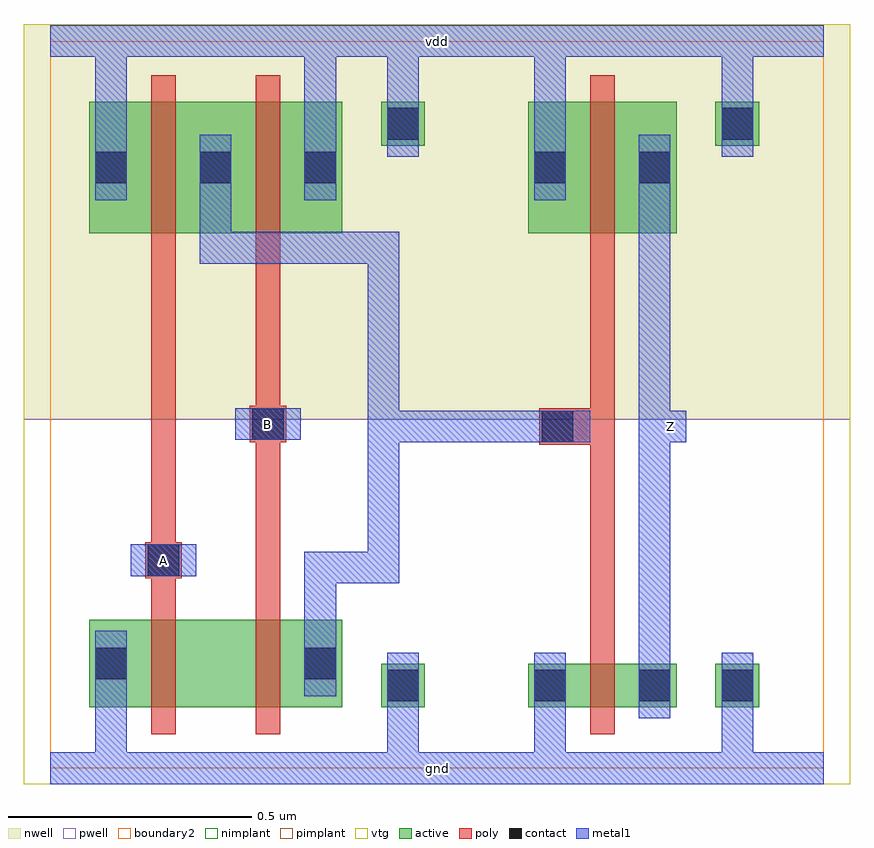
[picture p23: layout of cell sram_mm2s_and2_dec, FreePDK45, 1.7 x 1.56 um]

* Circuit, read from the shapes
.subckt sram_mm2s_and2_dec A B Z gnd vdd
M1 sram_mm2s_pnand2_0/sram_mm2s_nmos_m1_w0_180_sm1_dactive_2/D A gnd gnd nfet w=0.18u l=0.05u
M2 sram_mm2s_pinv_1/A B sram_mm2s_pnand2_0/sram_mm2s_nmos_m1_w0_180_sm1_dactive_2/D gnd nfet w=0.18u l=0.05u
M3 Z sram_mm2s_pinv_1/A gnd gnd nfet w=0.09u l=0.05u
M4 sram_mm2s_pinv_1/A A vdd vdd pfet w=0.27u l=0.05u
M5 vdd B sram_mm2s_pinv_1/A vdd pfet w=0.27u l=0.05u
M6 Z sram_mm2s_pinv_1/A vdd vdd pfet w=0.27u l=0.05u
.ends

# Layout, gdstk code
import gdstk
lib = gdstk.Library(unit=1e-6, precision=5e-10)
def R(c, l, rs):  # rectangles x0, y0, x1, y1
    for r in rs: c.add(gdstk.rectangle(r[:2], r[2:], *l))
active = (1, 0)
pwell = (2, 0)
nwell = (3, 0)
nimplant = (4, 0)
pimplant = (5, 0)
vtg = (6, 0)
poly = (9, 0)
contact = (10, 0)
metal1 = (11, 0)
boundary2 = (239, 0)

sram_mm2s_contact_11 = lib.new_cell('sram_mm2s_contact_11')
R(sram_mm2s_contact_11, active, [(0,0.0225,0.09,0.1125)])
R(sram_mm2s_contact_11, nwell, [(-0.055,-0.0325,0.145,0.1675)])
R(sram_mm2s_contact_11, pimplant, [(0,0.0225,0.09,0.1125)])
R(sram_mm2s_contact_11, contact, [(0.0125,0.035,0.0775,0.1)])
R(sram_mm2s_contact_11, metal1, [(0.0125,0,0.0775,0.135)])
R(sram_mm2s_contact_11, boundary2, [(-0.055,-0.0325,0.145,0.1675)])

sram_mm2s_pmos_m1_w0_270 = lib.new_cell('sram_mm2s_pmos_m1_w0_270_sm1_dm1')
R(sram_mm2s_pmos_m1_w0_270, active, [(0,0,0.305,0.27)])
R(sram_mm2s_pmos_m1_w0_270, nwell, [(-0.08,-0.08,0.385,0.35)])
R(sram_mm2s_pmos_m1_w0_270, pimplant, [(0,0,0.305,0.27)])
R(sram_mm2s_pmos_m1_w0_270, vtg, [(-0.08,-0.08,0.385,0.35)])
R(sram_mm2s_pmos_m1_w0_270, poly, [(0.1275,-0.055,0.1775,0.325), (0.1275,-0.055,0.1775,0.325)])
R(sram_mm2s_pmos_m1_w0_270, metal1, [(0.0125,0.0675,0.0775,0.2025), (0.2275,0.0675,0.2925,0.2025)])
R(sram_mm2s_pmos_m1_w0_270, boundary2, [(-0.08,-0.08,0.385,0.35)])
sram_mm2s_pmos_m1_w0_270.add(gdstk.Reference(sram_mm2s_contact_11, (0,0.0675)))
sram_mm2s_pmos_m1_w0_270.add(gdstk.Reference(sram_mm2s_contact_11, (0.215,0.0675)))
sram_mm2s_pmos_m1_w0_270.add(gdstk.Label('G', (0.1525,0.135), layer=9, texttype=0))
sram_mm2s_pmos_m1_w0_270.add(gdstk.Label('S', (0.045,0.135), layer=11, texttype=0))
sram_mm2s_pmos_m1_w0_270.add(gdstk.Label('D', (0.26,0.135), layer=11, texttype=0))

sram_mm2s_contact_10 = lib.new_cell('sram_mm2s_contact_10')
R(sram_mm2s_contact_10, active, [(0,0.0225,0.09,0.1125)])
R(sram_mm2s_contact_10, pwell, [(-0.055,-0.0325,0.145,0.1675)])
R(sram_mm2s_contact_10, nimplant, [(0,0.0225,0.09,0.1125)])
R(sram_mm2s_contact_10, contact, [(0.0125,0.035,0.0775,0.1)])
R(sram_mm2s_contact_10, metal1, [(0.0125,0,0.0775,0.135)])
R(sram_mm2s_contact_10, boundary2, [(-0.055,-0.0325,0.145,0.1675)])

sram_mm2s_nmos_m1_w0_180 = lib.new_cell('sram_mm2s_nmos_m1_w0_180_sm1_dactive')
R(sram_mm2s_nmos_m1_w0_180, active, [(0,0,0.305,0.18), (0.215,0.045,0.305,0.135)])
R(sram_mm2s_nmos_m1_w0_180, pwell, [(-0.08,-0.08,0.385,0.26)])
R(sram_mm2s_nmos_m1_w0_180, nimplant, [(0,0,0.305,0.18)])
R(sram_mm2s_nmos_m1_w0_180, vtg, [(-0.08,-0.08,0.385,0.26)])
R(sram_mm2s_nmos_m1_w0_180, poly, [(0.1275,-0.055,0.1775,0.235), (0.1275,-0.055,0.1775,0.235)])
R(sram_mm2s_nmos_m1_w0_180, metal1, [(0.0125,0.0225,0.0775,0.1575)])
R(sram_mm2s_nmos_m1_w0_180, boundary2, [(-0.08,-0.08,0.385,0.26)])
sram_mm2s_nmos_m1_w0_180.add(gdstk.Reference(sram_mm2s_contact_10, (0,0.0225)))
sram_mm2s_nmos_m1_w0_180.add(gdstk.Label('G', (0.1525,0.09), layer=9, texttype=0))
sram_mm2s_nmos_m1_w0_180.add(gdstk.Label('S', (0.045,0.09), layer=11, texttype=0))
sram_mm2s_nmos_m1_w0_180.add(gdstk.Label('D', (0.26,0.09), layer=1, texttype=0))

c_sram_mm2s_nmos_m1_w0_180 = lib.new_cell('sram_mm2s_nmos_m1_w0_180_sactive_dm1')
R(c_sram_mm2s_nmos_m1_w0_180, active, [(0,0,0.305,0.18), (0,0.045,0.09,0.135)])
R(c_sram_mm2s_nmos_m1_w0_180, pwell, [(-0.08,-0.08,0.385,0.26)])
R(c_sram_mm2s_nmos_m1_w0_180, nimplant, [(0,0,0.305,0.18)])
R(c_sram_mm2s_nmos_m1_w0_180, vtg, [(-0.08,-0.08,0.385,0.26)])
R(c_sram_mm2s_nmos_m1_w0_180, poly, [(0.1275,-0.055,0.1775,0.235), (0.1275,-0.055,0.1775,0.235)])
R(c_sram_mm2s_nmos_m1_w0_180, metal1, [(0.2275,0.0225,0.2925,0.1575)])
R(c_sram_mm2s_nmos_m1_w0_180, boundary2, [(-0.08,-0.08,0.385,0.26)])
c_sram_mm2s_nmos_m1_w0_180.add(gdstk.Reference(sram_mm2s_contact_10, (0.215,0.0225)))
c_sram_mm2s_nmos_m1_w0_180.add(gdstk.Label('G', (0.1525,0.09), layer=9, texttype=0))
c_sram_mm2s_nmos_m1_w0_180.add(gdstk.Label('S', (0.045,0.09), layer=1, texttype=0))
c_sram_mm2s_nmos_m1_w0_180.add(gdstk.Label('D', (0.26,0.09), layer=11, texttype=0))

sram_mm2s_contact_12 = lib.new_cell('sram_mm2s_contact_12')
R(sram_mm2s_contact_12, active, [(0,0.0225,0.09,0.1125)])
R(sram_mm2s_contact_12, nwell, [(-0.055,-0.0325,0.145,0.1675)])
R(sram_mm2s_contact_12, nimplant, [(0,0.0225,0.09,0.1125)])
R(sram_mm2s_contact_12, contact, [(0.0125,0.035,0.0775,0.1)])
R(sram_mm2s_contact_12, metal1, [(0.0125,0,0.0775,0.135)])
R(sram_mm2s_contact_12, boundary2, [(-0.055,-0.0325,0.145,0.1675)])

sram_mm2s_contact_13 = lib.new_cell('sram_mm2s_contact_13')
R(sram_mm2s_contact_13, active, [(0,0.0225,0.09,0.1125)])
R(sram_mm2s_contact_13, pwell, [(-0.055,-0.0325,0.145,0.1675)])
R(sram_mm2s_contact_13, pimplant, [(0,0.0225,0.09,0.1125)])
R(sram_mm2s_contact_13, contact, [(0.0125,0.035,0.0775,0.1)])
R(sram_mm2s_contact_13, metal1, [(0.0125,0,0.0775,0.135)])
R(sram_mm2s_contact_13, boundary2, [(-0.055,-0.0325,0.145,0.1675)])

sram_mm2s_contact_14 = lib.new_cell('sram_mm2s_contact_14')
R(sram_mm2s_contact_14, poly, [(0.03,0,0.105,0.075)])
R(sram_mm2s_contact_14, contact, [(0.035,0.005,0.1,0.07)])
R(sram_mm2s_contact_14, metal1, [(0,0.005,0.135,0.07)])
R(sram_mm2s_contact_14, boundary2, [(0,0,0.135,0.075)])

sram_mm2s_pnand2 = lib.new_cell('sram_mm2s_pnand2')
R(sram_mm2s_pnand2, pwell, [(-0.055,-0.0325,0.9575,0.7175)])
R(sram_mm2s_pnand2, nwell, [(-0.055,0.7175,0.9575,1.53)])
R(sram_mm2s_pnand2, vtg, [(-0.055,-0.0325,0.9575,0.7175), (-0.055,0.7175,0.9575,1.53)])
R(sram_mm2s_pnand2, poly, [(0.2075,0.36,0.2575,1.045), (0.4225,0.36,0.4725,1.045), (0.2075,0.39,0.2325,0.465), (0.4225,0.67,0.4475,0.745)])
R(sram_mm2s_pnand2, metal1, [(0,-0.0325,0.9025,0.0325), (0.0925,-0.0325,0.1575,0.1475), (0.6925,0,0.7575,0.17), (0.5225,0.2825,0.5875,0.4125), (0.5225,0.38,0.5875,0.445), (0.555,0.38,0.685,0.445), (0.6525,0.38,0.7175,0.445), (0.165,0.395,0.3,0.46), (0.6525,0.4125,0.7175,1.07), (0.38,0.675,0.515,0.74), (0.3075,1.0375,0.3725,1.1025), (0.34,1.0375,0.685,1.1025), (0.6525,1.0375,0.7175,1.1025), (0.3075,1.07,0.3725,1.1675), (0.0925,1.1675,0.1575,1.5275), (0.5225,1.1675,0.5875,1.5275), (0.6925,1.325,0.7575,1.495), (0,1.4625,0.9025,1.5275)])
R(sram_mm2s_pnand2, boundary2, [(0,0,0.9025,1.495), (0,0,0.9025,1.495)])
sram_mm2s_pnand2.add(gdstk.Reference(sram_mm2s_pmos_m1_w0_270, (0.08,1.1)))
sram_mm2s_pnand2.add(gdstk.Reference(sram_mm2s_pmos_m1_w0_270, (0.295,1.1)))
sram_mm2s_pnand2.add(gdstk.Reference(sram_mm2s_nmos_m1_w0_180, (0.08,0.125)))
sram_mm2s_pnand2.add(gdstk.Reference(c_sram_mm2s_nmos_m1_w0_180, (0.295,0.125)))
sram_mm2s_pnand2.add(gdstk.Reference(sram_mm2s_contact_12, (0.68,1.2575)))
sram_mm2s_pnand2.add(gdstk.Reference(sram_mm2s_contact_13, (0.68,0.1025)))
sram_mm2s_pnand2.add(gdstk.Reference(sram_mm2s_contact_14, (0.165,0.39)))
sram_mm2s_pnand2.add(gdstk.Reference(sram_mm2s_contact_14, (0.38,0.67)))
sram_mm2s_pnand2.add(gdstk.Label('Z', (0.685,1.07), layer=11, texttype=0))
sram_mm2s_pnand2.add(gdstk.Label('gnd', (0.451,0), layer=11, texttype=0))
sram_mm2s_pnand2.add(gdstk.Label('vdd', (0.451,1.495), layer=11, texttype=0))
sram_mm2s_pnand2.add(gdstk.Label('A', (0.2325,0.4275), layer=11, texttype=0))
sram_mm2s_pnand2.add(gdstk.Label('B', (0.4475,0.7075), layer=11, texttype=0))

c_sram_mm2s_pmos_m1_w0_270 = lib.new_cell('sram_mm2s_pmos_m1_w0_270_sm1_dm1_da_p')
R(c_sram_mm2s_pmos_m1_w0_270, active, [(0,0,0.305,0.27)])
R(c_sram_mm2s_pmos_m1_w0_270, nwell, [(-0.08,-0.08,0.385,0.35)])
R(c_sram_mm2s_pmos_m1_w0_270, pimplant, [(0,0,0.305,0.27)])
R(c_sram_mm2s_pmos_m1_w0_270, vtg, [(-0.08,-0.08,0.385,0.35)])
R(c_sram_mm2s_pmos_m1_w0_270, poly, [(0.1275,-0.055,0.1775,0.325), (0.1275,-0.055,0.1775,0.325)])
R(c_sram_mm2s_pmos_m1_w0_270, metal1, [(0.0125,0.0675,0.0775,0.2025), (0.2275,0.0675,0.2925,0.2025)])
R(c_sram_mm2s_pmos_m1_w0_270, boundary2, [(-0.08,-0.08,0.385,0.35)])
c_sram_mm2s_pmos_m1_w0_270.add(gdstk.Reference(sram_mm2s_contact_11, (0,0.0675)))
c_sram_mm2s_pmos_m1_w0_270.add(gdstk.Reference(sram_mm2s_contact_11, (0.215,0.0675)))
c_sram_mm2s_pmos_m1_w0_270.add(gdstk.Label('G', (0.1525,0.135), layer=9, texttype=0))
c_sram_mm2s_pmos_m1_w0_270.add(gdstk.Label('S', (0.045,0.135), layer=11, texttype=0))
c_sram_mm2s_pmos_m1_w0_270.add(gdstk.Label('D', (0.26,0.135), layer=11, texttype=0))

sram_mm2s_nmos_m1_w0_090 = lib.new_cell('sram_mm2s_nmos_m1_w0_090_sm1_dm1_da_p')
R(sram_mm2s_nmos_m1_w0_090, active, [(0,0,0.305,0.09)])
R(sram_mm2s_nmos_m1_w0_090, pwell, [(-0.08,-0.08,0.385,0.17)])
R(sram_mm2s_nmos_m1_w0_090, nimplant, [(0,0,0.305,0.09)])
R(sram_mm2s_nmos_m1_w0_090, vtg, [(-0.08,-0.08,0.385,0.17)])
R(sram_mm2s_nmos_m1_w0_090, poly, [(0.1275,-0.055,0.1775,0.145), (0.1275,-0.055,0.1775,0.145)])
R(sram_mm2s_nmos_m1_w0_090, metal1, [(0.0125,-0.0225,0.0775,0.1125), (0.2275,-0.0225,0.2925,0.1125)])
R(sram_mm2s_nmos_m1_w0_090, boundary2, [(-0.08,-0.08,0.385,0.17)])
sram_mm2s_nmos_m1_w0_090.add(gdstk.Reference(sram_mm2s_contact_10, (0,-0.0225)))
sram_mm2s_nmos_m1_w0_090.add(gdstk.Reference(sram_mm2s_contact_10, (0.215,-0.0225)))
sram_mm2s_nmos_m1_w0_090.add(gdstk.Label('G', (0.1525,0.045), layer=9, texttype=0))
sram_mm2s_nmos_m1_w0_090.add(gdstk.Label('S', (0.045,0.045), layer=11, texttype=0))
sram_mm2s_nmos_m1_w0_090.add(gdstk.Label('D', (0.26,0.045), layer=11, texttype=0))

sram_mm2s_pinv = lib.new_cell('sram_mm2s_pinv')
R(sram_mm2s_pinv, pwell, [(-0.055,-0.0325,0.7425,0.7175)])
R(sram_mm2s_pinv, nwell, [(-0.055,0.7175,0.7425,1.53)])
R(sram_mm2s_pinv, vtg, [(-0.055,-0.0325,0.7425,0.7175), (-0.055,0.7175,0.7425,1.53)])
R(sram_mm2s_pinv, poly, [(0.2075,0.27,0.2575,1.045), (0.14,0.665,0.2075,0.74)])
R(sram_mm2s_pinv, metal1, [(0,-0.0325,0.6875,0.0325), (0.0925,-0.0325,0.1575,0.1025), (0.4775,0,0.5425,0.17), (0.3075,0.1025,0.3725,1.3025), (0.0725,0.67,0.2075,0.735), (0.34,0.67,0.405,0.735), (0.0925,1.1675,0.1575,1.5275), (0.4775,1.325,0.5425,1.495), (0,1.4625,0.6875,1.5275)])
R(sram_mm2s_pinv, boundary2, [(0,0,0.6875,1.495), (0,0,0.6875,1.495)])
sram_mm2s_pinv.add(gdstk.Reference(c_sram_mm2s_pmos_m1_w0_270, (0.08,1.1)))
sram_mm2s_pinv.add(gdstk.Reference(sram_mm2s_nmos_m1_w0_090, (0.08,0.125)))
sram_mm2s_pinv.add(gdstk.Reference(sram_mm2s_contact_12, (0.465,1.2575)))
sram_mm2s_pinv.add(gdstk.Reference(sram_mm2s_contact_13, (0.465,0.1025)))
sram_mm2s_pinv.add(gdstk.Reference(sram_mm2s_contact_14, (0.0725,0.665)))
sram_mm2s_pinv.add(gdstk.Label('A', (0.14,0.7025), layer=11, texttype=0))
sram_mm2s_pinv.add(gdstk.Label('Z', (0.3725,0.7025), layer=11, texttype=0))
sram_mm2s_pinv.add(gdstk.Label('gnd', (0.344,0), layer=11, texttype=0))
sram_mm2s_pinv.add(gdstk.Label('vdd', (0.344,1.495), layer=11, texttype=0))

sram_mm2s_and2_dec = lib.new_cell('sram_mm2s_and2_dec')
R(sram_mm2s_and2_dec, metal1, [(0,-0.0325,1.59,0.0325), (0.165,0.395,0.3,0.46), (0.6525,0.67,0.7175,0.735), (0.685,0.67,1.0425,0.735), (1.2425,0.67,1.3075,0.735), (0.38,0.675,0.515,0.74), (0.6525,0.7025,0.7175,1.07), (0,1.4625,1.59,1.5275)])
R(sram_mm2s_and2_dec, boundary2, [(0,0,1.59,1.495)])
sram_mm2s_and2_dec.add(gdstk.Reference(sram_mm2s_pnand2, (0,0)))
sram_mm2s_and2_dec.add(gdstk.Reference(sram_mm2s_pinv, (0.9025,0)))
sram_mm2s_and2_dec.add(gdstk.Label('Z', (1.275,0.7025), layer=11, texttype=0))
sram_mm2s_and2_dec.add(gdstk.Label('A', (0.2325,0.4275), layer=11, texttype=0))
sram_mm2s_and2_dec.add(gdstk.Label('B', (0.4475,0.7075), layer=11, texttype=0))
sram_mm2s_and2_dec.add(gdstk.Label('gnd', (0.795,0), layer=11, texttype=0))
sram_mm2s_and2_dec.add(gdstk.Label('vdd', (0.795,1.495), layer=11, texttype=0))

lib.write_gds('sram_mm2s_and2_dec.gds')
